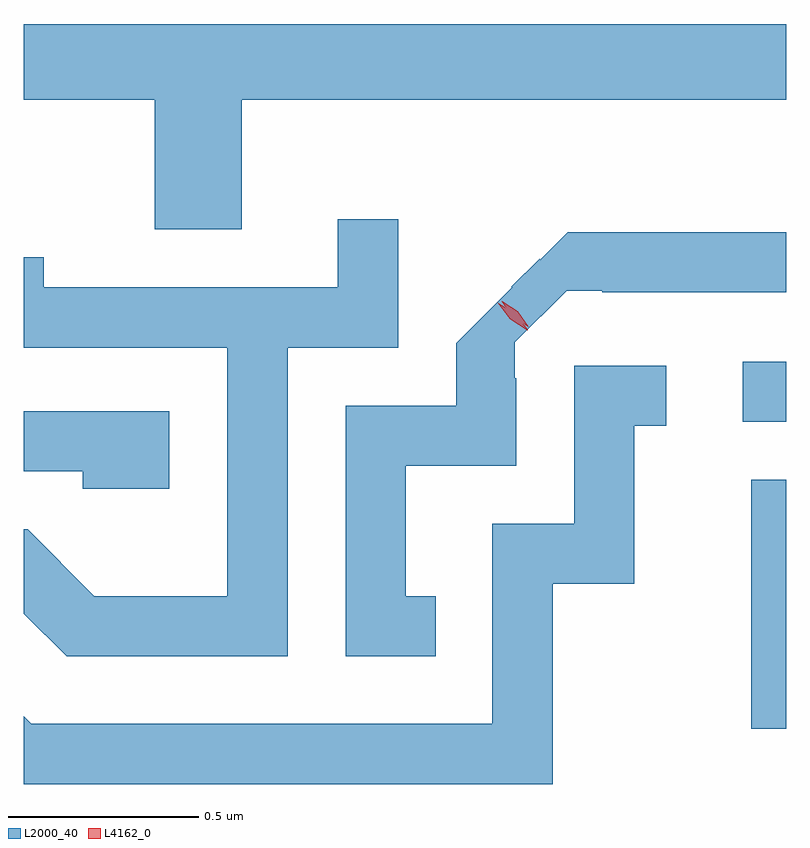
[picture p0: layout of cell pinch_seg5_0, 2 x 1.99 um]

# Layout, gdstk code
import gdstk
lib = gdstk.Library(unit=1e-6, precision=1e-09)
def R(c, l, rs):  # rectangles x0, y0, x1, y1
    for r in rs: c.add(gdstk.rectangle(r[:2], r[2:], *l))
def P(c, l, *ps):  # polygons
    for p in ps: c.add(gdstk.Polygon(p, *l))
L2000_40 = (2000, 40)
L4162_0 = (4162, 0)

pinch_seg5_0 = lib.new_cell('pinch_seg5_0')
R(pinch_seg5_0, L2000_40, [(882.006,1495.106,882.097,1495.759), (881.983,1495.911,882.097,1496.069)])
P(pinch_seg5_0, L2000_40, [(880.669,1496.756),(882.097,1496.756),(882.097,1496.955),(880.097,1496.955),(880.097,1496.756),(880.441,1496.756),(880.441,1496.416),(880.669,1496.416)],
  [(880.789,1496.106),(881.079,1496.106),(881.079,1496.443),(880.921,1496.443),(880.921,1496.264),(880.149,1496.264),(880.149,1496.343),(880.097,1496.343),(880.097,1496.106),(880.631,1496.106),(880.631,1495.454),(880.282,1495.454),(880.107,1495.629),(880.097,1495.629),(880.097,1495.408),(880.209,1495.296),(880.789,1495.296)],
  [(881.178,1495.454),(881.099,1495.454),(881.099,1495.796),(881.389,1495.796),(881.389,1496.025),(881.385,1496.025),(881.385,1496.12),(881.521,1496.255),(881.615,1496.255),(881.615,1496.251),(882.097,1496.251),(882.097,1496.409),(881.524,1496.409),(881.452,1496.337),(881.45,1496.339),(881.376,1496.265),(881.377,1496.263),(881.231,1496.117),(881.231,1495.954),(880.941,1495.954),(880.941,1495.296),(881.178,1495.296)],
  [(881.484,1495.486),(881.699,1495.486),(881.699,1495.901),(881.783,1495.901),(881.783,1496.059),(881.541,1496.059),(881.541,1495.644),(881.326,1495.644),(881.326,1495.119),(880.117,1495.119),(880.097,1495.139),(880.097,1494.961),(881.484,1494.961)],
  [(880.479,1495.939),(880.097,1495.939),(880.097,1495.781),(880.251,1495.781),(880.251,1495.736),(880.479,1495.736)])
P(pinch_seg5_0, L4162_0, [(881.418,1496.152),(881.373,1496.181),(881.341,1496.223),(881.341,1496.224),(881.341,1496.224),(881.386,1496.195),(881.419,1496.153),(881.419,1496.152)],
  [(881.42,1496.161),(881.379,1496.187),(881.351,1496.227),(881.351,1496.228),(881.352,1496.228),(881.393,1496.202),(881.42,1496.162),(881.42,1496.161)])

lib.write_gds('pinch_seg5_0.gds')
